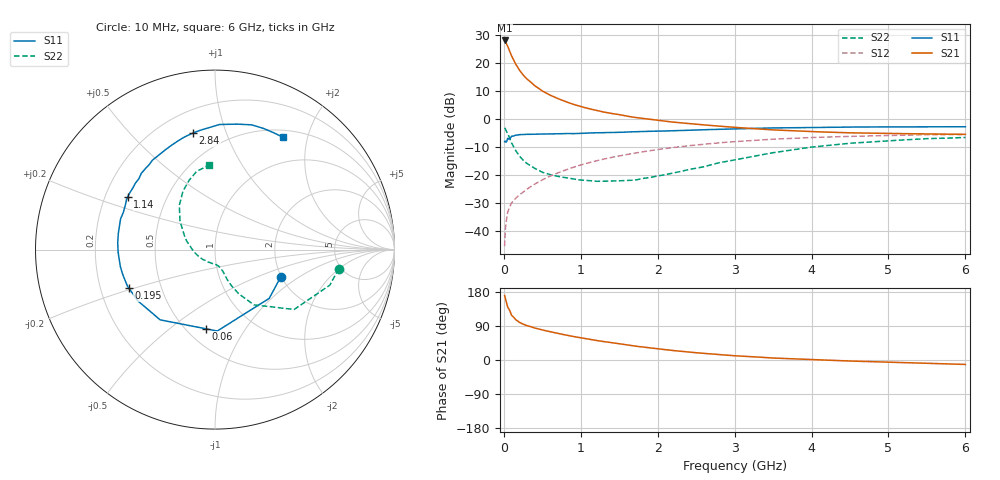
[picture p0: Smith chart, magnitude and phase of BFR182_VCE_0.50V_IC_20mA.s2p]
! Infineon Technologies  Discrete & RF Semiconductors
! BFR182
! VCE = 0.50 V,  IC =  20 mA
! Common Emitter S-Parameters:  Nov 2015
# GHz  S  MA  R  50
!  f  S11  S21  S12  S22
! GHz  MAG  ANG  MAG  ANG  MAG  ANG  MAG  ANG
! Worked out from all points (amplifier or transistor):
!   210 points, 10 MHz to 6 GHz, reference 50 ohm
!   highest |S21| = 28.1 dB at 10 MHz (marker M1)
!   |S21| within 3 dB of that: start of sweep to 64.26 MHz
!   unconditionally stable (mu >= 1): start of sweep to 17.67 MHz; 171.5 MHz to end of sweep
!   at 185 MHz: K = 1.04, MAG = 21.7 dB, |S12| = -27.5 dB
!   at 1.52 GHz: K = 1.37, MAG = 3.7 dB, |S12| = -13.0 dB
!   at 6 GHz: K = 1.11, MAG = -2.0 dB, |S12| = -5.5 dB
!   S11 on the Smith chart (normalised r, x): 10 MHz: 1.99, -0.71; 60 MHz: 0.62, -0.68; 195 MHz: 0.32, -0.19; 1.14 GHz: 0.30, +0.26; 2.84 GHz: 0.34, +0.77; 6 GHz: 0.60, +1.61
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0.01  0.3969 -22.4  25.4 170.4  0.0054 75.7  0.6978 -8.7
0.02  0.4063 -42.0  24.48 161.2  0.0108 73.0  0.6697 -17.2
0.035  0.3954 -66.6  21.88 151.4  0.0162 64.9  0.6022 -26.2
0.05  0.4538 -88.4  20.06 139.5  0.0217 60.9  0.5529 -37.1
0.06  0.4441 -96.6  18.59 136.5  0.0237 58.8  0.5146 -39.7
0.1  0.4966 -128.0  13.51 118.2  0.0318 53.0  0.3768 -54.8
0.15  0.5159 -146.3  9.81 106.8  0.0382 53.3  0.2791 -61.8
0.195  0.5265 -156.2  7.809 100.5  0.0435 54.7  0.2272 -65.0
0.24  0.531 -163.2  6.43 95.6  0.0486 56.8  0.1916 -67.3
0.3  0.5357 -169.8  5.211 90.7  0.0561 59.2  0.162 -68.3
0.4  0.5401 -178.5  3.964 84.5  0.069 61.9  0.1327 -69.6
0.5  0.5433 175.8  3.184 79.1  0.0823 63.8  0.1127 -72.4
0.7  0.5479 165.9  2.337 69.9  0.1093 64.4  0.0953 -77.2
1.02  0.5587 153.1  1.65 57.8  0.155 62.9  0.0814 -91.9
1.14  0.5681 148.8  1.501 53.6  0.1716 61.8  0.0791 -99.4
1.6  0.5907 134.1  1.132 39.7  0.234 56.4  0.0807 -126.5
2.02  0.6112 121.5  0.945 29.2  0.2891 50.4  0.0979 -156.2
2.84  0.6611 100.6  0.742 13.7  0.3821 37.7  0.1707 161.1
3.1  0.6738 95.2  0.699 10.1  0.4049 33.6  0.1989 151.8
4.1  0.7122 78.6  0.593 0.4  0.474 19.0  0.3271 126.5
5.1  0.7271 67.1  0.554 -6.2  0.515 6.6  0.419 108.8
6  0.732 58.8  0.535 -11.7  0.5325 -4.0  0.4705 94.3
